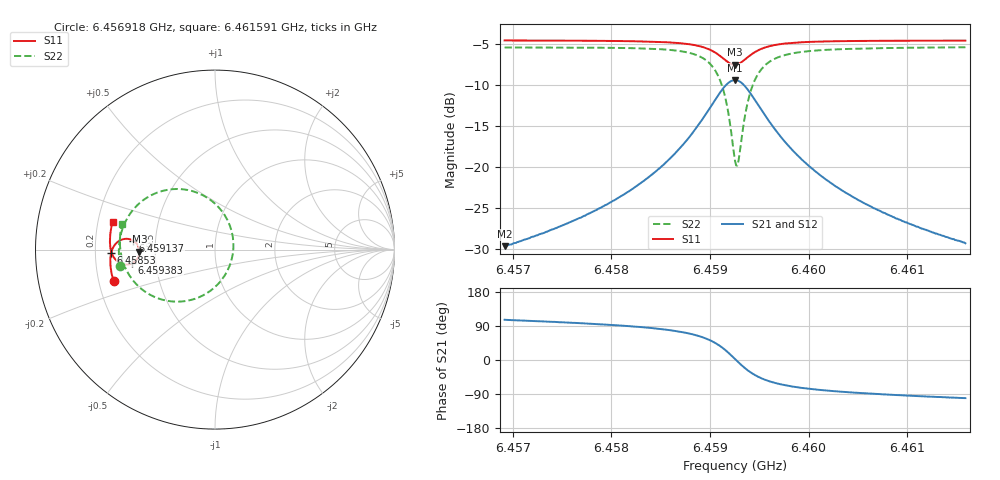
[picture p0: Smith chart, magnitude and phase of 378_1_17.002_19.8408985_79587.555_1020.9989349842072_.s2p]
#  HZ  S  RI  R  50.00
! Rohde & Schwarz Vector Network Analyzer
! Rohde-Schwarz,ZNB20-2Port,1311601062101988,3.16
! Created: UTC 3/20/2024, 11:09:01 PM
! freq[Hz]  re:S11  im:S11  re:S21  im:S21  re:S12  im:S12  re:S22  im:S22
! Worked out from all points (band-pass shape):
!   401 points, 6.456918 GHz to 6.461591 GHz, reference 50 ohm
!   highest |S21| = -9.37 dB at 6.459254 GHz (marker M1); lowest = -29.6 dB at 6.456918 GHz (marker M2)
!   |S21| within 3 dB of the highest: 6.459021 GHz to 6.459488 GHz (466.5 kHz wide, 0.00722 % of centre)
!   lowest |S11| = -7.5 dB at 6.459254 GHz (marker M3), VSWR 2.45, Z = 20.4 - j0.57 ohm
!   |S11| at or under -10 dB: nowhere
!   |S22| runs from -19.8 to -5.4 dB; largest |S21 - S12| = 0.013
!   S11 on the Smith chart (normalised r, x): 6.456918 GHz: 0.26, -0.14; 6.45853 GHz: 0.27, -0.01; 6.459137 GHz: 0.37, +0.05; 6.459383 GHz: 0.36, -0.07; 6.461591 GHz: 0.26, +0.12
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6.4569177e9  -0.5652 -0.1769  -0.00919 0.0317  -0.00738 0.0317  -0.5291 -0.0898
6.4577005e9  -0.58 -0.1088  -0.00602 0.0493  -0.00356 0.0488  -0.5356 0.000335
6.4581327e9  -0.5832 -0.0658  -0.000222 0.0686  0.0029 0.0673  -0.5282 0.0676
6.4584832e9  -0.5798 -0.0244  0.0133 0.097  0.0172 0.0944  -0.504 0.145
6.45853e9  -0.5784 -0.0182  0.0165 0.1023  0.0205 0.0996  -0.4978 0.1579
6.4587403e9  -0.5665 0.0138  0.042 0.1337  0.0462 0.1292  -0.4501 0.2292
6.4588921e9  -0.5458 0.0401  0.0838 0.1638  0.0872 0.1574  -0.3734 0.2932
6.459044e9  -0.5002 0.0599  0.1741 0.183  0.1752 0.1757  -0.2084 0.3376
6.4591375e9  -0.4563 0.0503  0.263 0.1528  0.2632 0.1469  -0.0444 0.2895
6.4591842e9  -0.4353 0.0318  0.3062 0.111  0.3074 0.1055  0.0376 0.2152
6.4592543e9  -0.4207 -0.0115  0.3395 0.0156  0.3427 0.00875  0.1025 0.0389
6.459266e9  -0.4211 -0.0195  0.3392 -0.00186  0.3428 -0.00939  0.1023 0.00599
6.4592894e9  -0.4245 -0.0349  0.3339 -0.0361  0.3375 -0.045  0.0918 -0.0587
6.4593361e9  -0.4398 -0.0606  0.3062 -0.0951  0.3081 -0.1067  0.0359 -0.1702
6.4593828e9  -0.4614 -0.0765  0.2648 -0.1357  0.264 -0.1486  -0.0472 -0.2442
6.4594763e9  -0.5042 -0.083  0.1816 -0.1667  0.1756 -0.1779  -0.2126 -0.29
6.4596282e9  -0.5474 -0.0625  0.0952 -0.1535  0.0868 -0.1595  -0.3773 -0.2423
6.4597917e9  -0.5687 -0.035  0.051 -0.1262  0.0435 -0.129  -0.4565 -0.1718
6.4600371e9  -0.5812 0.000593  0.0223 -0.0954  0.0166 -0.0959  -0.5041 -0.0908
6.4603759e9  -0.5855 0.0405  0.00672 -0.0696  0.00271 -0.0693  -0.5252 -0.0146
6.4608198e9  -0.5836 0.0849  -0.00132 -0.051  -0.00411 -0.0501  -0.5298 0.0555
6.4615909e9  -0.571 0.1529  -0.0063 -0.0338  -0.00808 -0.033  -0.5184 0.1451
